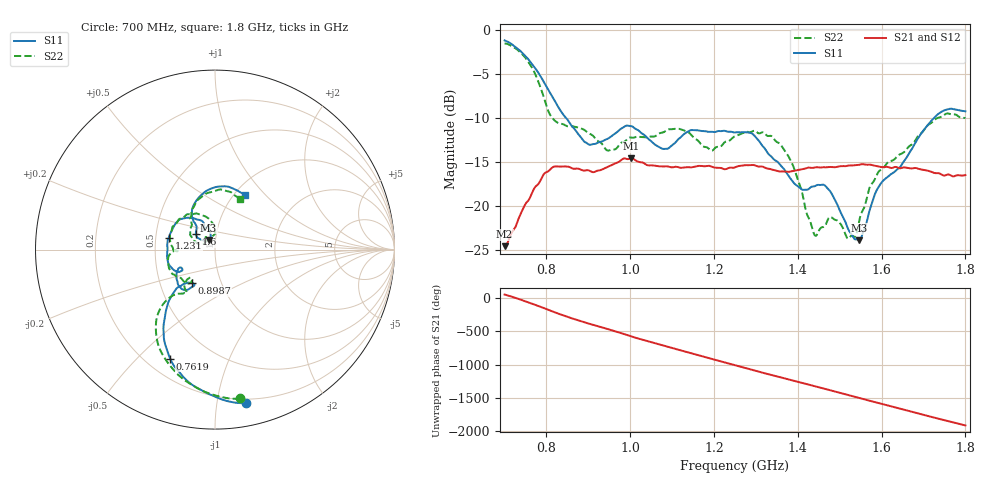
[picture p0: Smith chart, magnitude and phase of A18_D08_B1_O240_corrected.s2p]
! Created with skrf 1.9.0 (http://scikit-rf.org).
# Hz S RI R 50.0
!freq ReS11 ImS11 ReS21 ImS21 ReS12 ImS12 ReS22 ImS22
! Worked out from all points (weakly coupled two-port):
!   1601 points, 700 MHz to 1.8 GHz, reference 50 ohm
!   highest |S21| = -14.55 dB at 1.002 GHz (marker M1); lowest = -24.5 dB at 700 MHz (marker M2)
!   lowest |S11| = -23.8 dB at 1.546 GHz (marker M3), VSWR 1.14, Z = 46.3 + j4.96 ohm
!   |S11| at or under -10 dB: 847.4 MHz to 1.724 GHz (877.1 MHz wide, 68.2 % of centre)
!   |S22| runs from -23.7 to -1.5 dB; largest |S21 - S12| = 0.0037
!   S11 on the Smith chart (normalised r, x): 700 MHz: 0.17, -1.21; 761.9 MHz: 0.29, -0.63; 898.7 MHz: 0.72, -0.28; 1.231 GHz: 0.59, +0.08; 1.6 GHz: 0.80, +0.14; 1.8 GHz: 1.12, +0.77
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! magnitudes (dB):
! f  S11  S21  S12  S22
! 700 MHz  -1.2  -24.5  -24.3  -1.5
! 761.9 MHz  -3.6  -18.9  -18.8  -4.0
! 814.1 MHz  -7.6  -15.6  -15.6  -10.0
! 883.6 MHz  -12.2  -15.9  -15.8  -11.2
! 898.7 MHz  -12.9  -15.9  -16.0  -11.6
! 947.5 MHz  -12.3  -15.5  -15.5  -13.7
! 1.002 GHz  -10.9  -14.6  -14.7  -12.2
! 1.067 GHz  -13.2  -15.4  -15.4  -11.8
! 1.194 GHz  -11.5  -15.5  -15.5  -13.7
! 1.231 GHz  -11.5  -15.7  -15.7  -12.6
! 1.25 GHz  -11.6  -15.6  -15.5  -12.0
! 1.292 GHz  -11.8  -15.3  -15.3  -11.5
! 1.359 GHz  -15.4  -16.0  -16.0  -13.0
! 1.39 GHz  -17.3  -16.0  -16.0  -15.6
! 1.434 GHz  -17.8  -15.6  -15.6  -22.3
! 1.471 GHz  -18.0  -15.6  -15.6  -21.5
! 1.521 GHz  -22.7  -15.4  -15.4  -23.7
! 1.546 GHz  -23.8  -15.3  -15.3  -21.7
! 1.6 GHz  -17.3  -15.5  -15.5  -15.8
! 1.617 GHz  -16.6  -15.6  -15.5  -14.9
! 1.733 GHz  -9.6  -16.2  -16.3  -10.0
! 1.8 GHz  -9.2  -16.5  -16.5  -10.0
